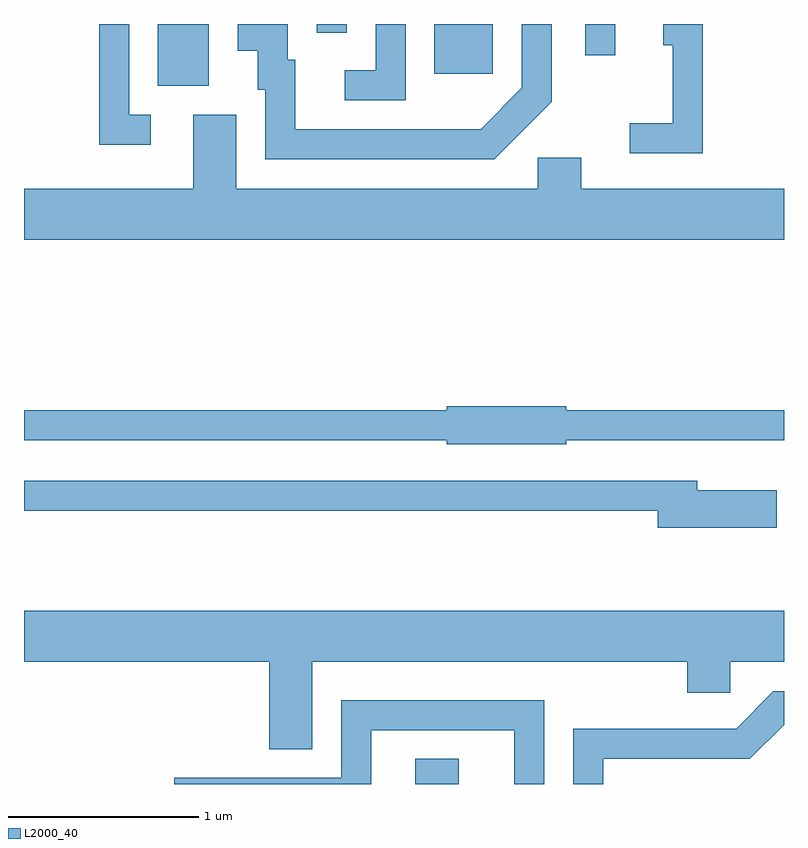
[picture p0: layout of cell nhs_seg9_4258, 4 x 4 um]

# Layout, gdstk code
import gdstk
lib = gdstk.Library(unit=1e-6, precision=1e-09)
def R(c, l, rs):  # rectangles x0, y0, x1, y1
    for r in rs: c.add(gdstk.rectangle(r[:2], r[2:], *l))
def P(c, l, *ps):  # polygons
    for p in ps: c.add(gdstk.Polygon(p, *l))
L2000_40 = (2000, 40)

nhs_seg9_4258 = lib.new_cell('nhs_seg9_4258')
R(nhs_seg9_4258, L2000_40, [(311.671,2064.432,311.899,2064.564), (310.316,2068.106,310.584,2068.432), (311.771,2068.171,312.079,2068.432), (312.566,2068.268,312.724,2068.432), (311.151,2068.387,311.309,2068.432)])
P(nhs_seg9_4258, L2000_40, [(312.389,2068.024),(312.389,2068.432),(312.231,2068.432),(312.231,2068.097),(312.014,2067.879),(311.039,2067.879),(311.039,2068.244),(310.999,2068.244),(310.999,2068.432),(310.736,2068.432),(310.736,2068.291),(310.841,2068.291),(310.841,2068.086),(310.881,2068.086),(310.881,2067.721),(312.087,2067.721)],
  [(311.619,2068.432),(311.461,2068.432),(311.461,2068.189),(311.298,2068.189),(311.298,2068.031),(311.619,2068.031)],
  [(310.278,2067.954),(310.164,2067.954),(310.164,2068.432),(310.006,2068.432),(310.006,2067.796),(310.278,2067.796)],
  [(313.184,2068.432),(312.976,2068.432),(312.976,2068.321),(313.026,2068.321),(313.026,2067.909),(312.798,2067.909),(312.798,2067.751),(313.184,2067.751)],
  [(313.611,2067.564),(312.544,2067.564),(312.544,2067.729),(312.316,2067.729),(312.316,2067.564),(310.729,2067.564),(310.729,2067.954),(310.501,2067.954),(310.501,2067.564),(309.611,2067.564),(309.611,2067.296),(313.611,2067.296)],
  [(312.464,2066.241),(313.611,2066.241),(313.611,2066.399),(312.464,2066.399),(312.464,2066.419),(311.836,2066.419),(311.836,2066.399),(309.611,2066.399),(309.611,2066.241),(311.836,2066.241),(311.836,2066.221),(312.464,2066.221)],
  [(313.574,2065.979),(313.154,2065.979),(313.154,2066.029),(309.611,2066.029),(309.611,2065.871),(312.946,2065.871),(312.946,2065.781),(313.574,2065.781)],
  [(311.129,2065.076),(313.101,2065.076),(313.101,2064.911),(313.329,2064.911),(313.329,2065.076),(313.611,2065.076),(313.611,2065.344),(309.611,2065.344),(309.611,2065.076),(310.901,2065.076),(310.901,2064.616),(311.129,2064.616)],
  [(312.659,2064.566),(313.432,2064.566),(313.611,2064.745),(313.611,2064.919),(313.554,2064.919),(313.359,2064.724),(312.501,2064.724),(312.501,2064.432),(312.659,2064.432)],
  [(311.439,2064.716),(312.191,2064.716),(312.191,2064.432),(312.349,2064.432),(312.349,2064.874),(311.281,2064.874),(311.281,2064.464),(310.403,2064.464),(310.403,2064.432),(311.439,2064.432)])

lib.write_gds('nhs_seg9_4258.gds')
